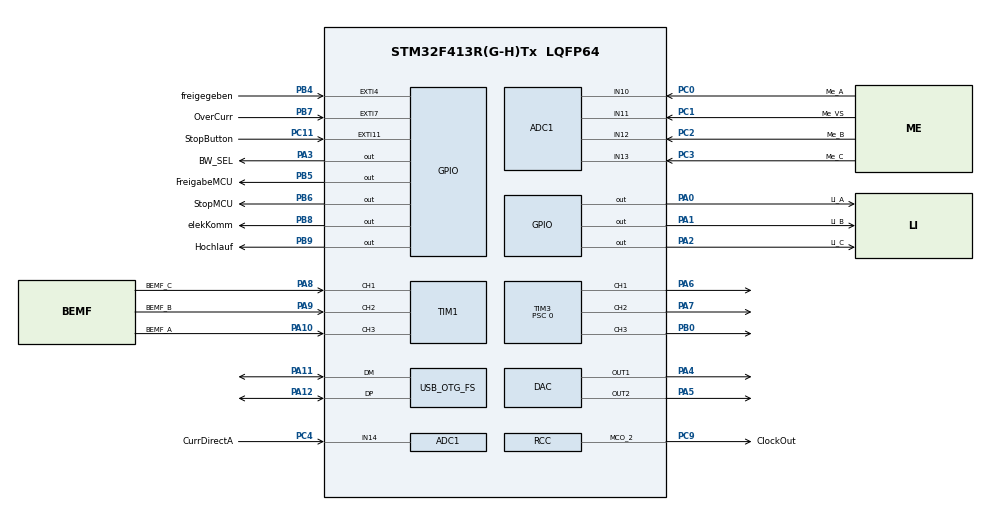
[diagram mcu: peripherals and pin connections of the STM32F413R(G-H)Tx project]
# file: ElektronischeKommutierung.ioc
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ADC1.Channel-0\#ChannelRegularConversion=ADC_CHANNEL_10
ADC1.NbrOfConversionFlag=1
ADC1.Rank-0\#ChannelRegularConversion=1
ADC1.SamplingTime-0\#ChannelRegularConversion=ADC_SAMPLETIME_3CYCLES
ADC1.master=1
Dma.ADC1.8.Direction=DMA_PERIPH_TO_MEMORY
Dma.ADC1.8.FIFOMode=DMA_FIFOMODE_DISABLE
Dma.ADC1.8.Instance=DMA2_Stream0
Dma.ADC1.8.MemDataAlignment=DMA_MDATAALIGN_HALFWORD
Dma.ADC1.8.MemInc=DMA_MINC_DISABLE
Dma.ADC1.8.Mode=DMA_NORMAL
Dma.ADC1.8.PeriphDataAlignment=DMA_PDATAALIGN_HALFWORD
Dma.ADC1.8.PeriphInc=DMA_PINC_DISABLE
Dma.ADC1.8.Priority=DMA_PRIORITY_LOW
Dma.DAC1.6.Direction=DMA_MEMORY_TO_PERIPH
Dma.DAC1.6.FIFOMode=DMA_FIFOMODE_DISABLE
Dma.DAC1.6.Instance=DMA1_Stream5
Dma.DAC1.6.MemDataAlignment=DMA_MDATAALIGN_HALFWORD
Dma.DAC1.6.MemInc=DMA_MINC_DISABLE
Dma.DAC1.6.Mode=DMA_NORMAL
Dma.DAC1.6.PeriphDataAlignment=DMA_PDATAALIGN_HALFWORD
Dma.DAC1.6.PeriphInc=DMA_PINC_DISABLE
Dma.DAC1.6.Priority=DMA_PRIORITY_MEDIUM
Dma.DAC2.7.Direction=DMA_MEMORY_TO_PERIPH
Dma.DAC2.7.FIFOMode=DMA_FIFOMODE_DISABLE
Dma.DAC2.7.Instance=DMA1_Stream6
Dma.DAC2.7.MemDataAlignment=DMA_MDATAALIGN_HALFWORD
Dma.DAC2.7.MemInc=DMA_MINC_DISABLE
Dma.DAC2.7.Mode=DMA_NORMAL
Dma.DAC2.7.PeriphDataAlignment=DMA_PDATAALIGN_HALFWORD
Dma.DAC2.7.PeriphInc=DMA_PINC_DISABLE
Dma.DAC2.7.Priority=DMA_PRIORITY_MEDIUM
Dma.Request0=TIM1_CH1
Dma.Request1=TIM1_CH2
Dma.Request2=TIM1_CH3
Dma.Request3=TIM8_CH2
Dma.Request4=TIM8_CH3
Dma.Request5=TIM8_CH4/TRIG/COM
Dma.Request6=DAC1
Dma.Request7=DAC2
Dma.Request8=ADC1
Dma.TIM1_CH1.0.Direction=DMA_PERIPH_TO_MEMORY
Dma.TIM1_CH1.0.FIFOMode=DMA_FIFOMODE_DISABLE
Dma.TIM1_CH1.0.Instance=DMA2_Stream1
Dma.TIM1_CH1.0.MemDataAlignment=DMA_MDATAALIGN_HALFWORD
Dma.TIM1_CH1.0.MemInc=DMA_MINC_DISABLE
Dma.TIM1_CH1.0.Mode=DMA_NORMAL
Dma.TIM1_CH1.0.PeriphDataAlignment=DMA_PDATAALIGN_HALFWORD
Dma.TIM1_CH1.0.PeriphInc=DMA_PINC_DISABLE
Dma.TIM1_CH1.0.Priority=DMA_PRIORITY_HIGH
Dma.TIM1_CH2.1.Direction=DMA_PERIPH_TO_MEMORY
Dma.TIM1_CH2.1.FIFOMode=DMA_FIFOMODE_DISABLE
Dma.TIM1_CH2.1.Instance=DMA2_Stream2
Dma.TIM1_CH2.1.MemDataAlignment=DMA_MDATAALIGN_HALFWORD
Dma.TIM1_CH2.1.MemInc=DMA_MINC_DISABLE
Dma.TIM1_CH2.1.Mode=DMA_NORMAL
Dma.TIM1_CH2.1.PeriphDataAlignment=DMA_PDATAALIGN_HALFWORD
Dma.TIM1_CH2.1.PeriphInc=DMA_PINC_DISABLE
Dma.TIM1_CH2.1.Priority=DMA_PRIORITY_HIGH
Dma.TIM1_CH3.2.Direction=DMA_PERIPH_TO_MEMORY
Dma.TIM1_CH3.2.FIFOMode=DMA_FIFOMODE_DISABLE
Dma.TIM1_CH3.2.Instance=DMA2_Stream6
Dma.TIM1_CH3.2.MemDataAlignment=DMA_MDATAALIGN_HALFWORD
Dma.TIM1_CH3.2.MemInc=DMA_MINC_DISABLE
Dma.TIM1_CH3.2.Mode=DMA_NORMAL
Dma.TIM1_CH3.2.PeriphDataAlignment=DMA_PDATAALIGN_HALFWORD
Dma.TIM1_CH3.2.PeriphInc=DMA_PINC_DISABLE
Dma.TIM1_CH3.2.Priority=DMA_PRIORITY_HIGH
Dma.TIM8_CH2.3.Direction=DMA_MEMORY_TO_PERIPH
Dma.TIM8_CH2.3.FIFOMode=DMA_FIFOMODE_DISABLE
Dma.TIM8_CH2.3.Instance=DMA2_Stream3
Dma.TIM8_CH2.3.MemDataAlignment=DMA_MDATAALIGN_HALFWORD
Dma.TIM8_CH2.3.MemInc=DMA_MINC_DISABLE
Dma.TIM8_CH2.3.Mode=DMA_NORMAL
Dma.TIM8_CH2.3.PeriphDataAlignment=DMA_PDATAALIGN_HALFWORD
Dma.TIM8_CH2.3.PeriphInc=DMA_PINC_DISABLE
Dma.TIM8_CH2.3.Priority=DMA_PRIORITY_HIGH
Dma.TIM8_CH3.4.Direction=DMA_MEMORY_TO_PERIPH
Dma.TIM8_CH3.4.FIFOMode=DMA_FIFOMODE_DISABLE
Dma.TIM8_CH3.4.Instance=DMA2_Stream4
Dma.TIM8_CH3.4.MemDataAlignment=DMA_MDATAALIGN_HALFWORD
Dma.TIM8_CH3.4.MemInc=DMA_MINC_DISABLE
Dma.TIM8_CH3.4.Mode=DMA_NORMAL
Dma.TIM8_CH3.4.PeriphDataAlignment=DMA_PDATAALIGN_HALFWORD
Dma.TIM8_CH3.4.PeriphInc=DMA_PINC_DISABLE
Dma.TIM8_CH3.4.Priority=DMA_PRIORITY_HIGH
Dma.TIM8_CH4/TRIG/COM.5.Direction=DMA_MEMORY_TO_PERIPH
Dma.TIM8_CH4/TRIG/COM.5.FIFOMode=DMA_FIFOMODE_DISABLE
Dma.TIM8_CH4/TRIG/COM.5.Instance=DMA2_Stream7
Dma.TIM8_CH4/TRIG/COM.5.MemDataAlignment=DMA_MDATAALIGN_HALFWORD
Dma.TIM8_CH4/TRIG/COM.5.MemInc=DMA_MINC_DISABLE
Dma.TIM8_CH4/TRIG/COM.5.Mode=DMA_NORMAL
Dma.TIM8_CH4/TRIG/COM.5.PeriphDataAlignment=DMA_PDATAALIGN_HALFWORD
Dma.TIM8_CH4/TRIG/COM.5.PeriphInc=DMA_PINC_DISABLE
Dma.TIM8_CH4/TRIG/COM.5.Priority=DMA_PRIORITY_HIGH
Mcu.Family=STM32F4
Mcu.Name=STM32F413R(G-H)Tx
Mcu.Package=LQFP64
NVIC.DMA1_Stream5_IRQn=true\:0\:0\:false\:false\:true\:false
NVIC.DMA1_Stream6_IRQn=true\:0\:0\:false\:false\:true\:false
NVIC.DMA2_Stream0_IRQn=true\:0\:0\:false\:false\:true\:false
NVIC.DMA2_Stream1_IRQn=true\:0\:0\:false\:false\:true\:false
NVIC.DMA2_Stream2_IRQn=true\:0\:0\:false\:false\:true\:false
NVIC.DMA2_Stream3_IRQn=true\:0\:0\:false\:false\:true\:false
NVIC.DMA2_Stream4_IRQn=true\:0\:0\:false\:false\:true\:false
NVIC.DMA2_Stream6_IRQn=true\:0\:0\:false\:false\:true\:false
NVIC.DMA2_Stream7_IRQn=true\:0\:0\:false\:false\:true\:false
NVIC.EXTI15_10_IRQn=true\:0\:0\:false\:false\:true\:true
NVIC.EXTI4_IRQn=true\:0\:0\:false\:false\:true\:true
NVIC.EXTI9_5_IRQn=true\:0\:0\:false\:false\:true\:true
NVIC.OTG_FS_IRQn=true\:0\:0\:false\:false\:true\:false
NVIC.PriorityGroup=NVIC_PRIORITYGROUP_4
PA0.GPIO_Label=LI_A
PA0.GPIO_Speed=GPIO_SPEED_FREQ_VERY_HIGH
PA0.Signal=GPIO_Output
PA1.GPIO_Label=LI_B
PA1.GPIO_Speed=GPIO_SPEED_FREQ_VERY_HIGH
PA1.Signal=GPIO_Output
PA10.GPIO_Label=BEMF_A
PA10.GPIO_Speed=GPIO_SPEED_FREQ_VERY_HIGH
PA10.Signal=S_TIM1_CH3
PA11.Mode=Device_Only
PA11.Signal=USB_OTG_FS_DM
PA12.Mode=Device_Only
PA12.Signal=USB_OTG_FS_DP
PA13.Mode=Serial_Wire
PA13.Signal=SYS_JTMS-SWDIO
PA14.Mode=Serial_Wire
PA14.Signal=SYS_JTCK-SWCLK
PA2.GPIO_Label=LI_C
PA2.GPIO_Speed=GPIO_SPEED_FREQ_VERY_HIGH
PA2.Signal=GPIO_Output
PA3.GPIO_Label=BW_SEL
PA3.GPIO_Speed=GPIO_SPEED_FREQ_MEDIUM
PA3.Signal=GPIO_Output
PA4.Signal=COMP_DAC1_group
PA5.Signal=COMP_DAC2_group
PA6.GPIO_Speed=GPIO_SPEED_FREQ_VERY_HIGH
PA6.Signal=S_TIM3_CH1
PA7.GPIO_Speed=GPIO_SPEED_FREQ_VERY_HIGH
PA7.Signal=S_TIM3_CH2
PA8.GPIO_Label=BEMF_C
PA8.GPIO_Speed=GPIO_SPEED_FREQ_VERY_HIGH
PA8.Signal=S_TIM1_CH1
PA9.GPIO_Label=BEMF_B
PA9.GPIO_Speed=GPIO_SPEED_FREQ_VERY_HIGH
PA9.Signal=S_TIM1_CH2
PB0.GPIO_Speed=GPIO_SPEED_FREQ_VERY_HIGH
PB0.Signal=S_TIM3_CH3
PB4.GPIO_Label=freigegeben
PB4.Signal=GPXTI4
PB5.GPIO_Label=FreigabeMCU
PB5.GPIO_Speed=GPIO_SPEED_FREQ_MEDIUM
PB5.Signal=GPIO_Output
PB6.GPIO_Label=StopMCU
PB6.GPIO_Speed=GPIO_SPEED_FREQ_VERY_HIGH
PB6.Signal=GPIO_Output
PB7.GPIO_Label=OverCurr
PB7.Signal=GPXTI7
PB8.GPIO_Label=elekKomm
PB8.GPIO_Speed=GPIO_SPEED_FREQ_LOW
PB8.Signal=GPIO_Output
PB9.GPIO_Label=Hochlauf
PB9.Signal=GPIO_Output
PC0.GPIO_Label=Me_A
PC0.Signal=ADCx_IN10
PC1.GPIO_Label=Me_VS
PC1.Signal=ADCx_IN11
PC11.GPIO_Label=StopButton
PC11.Signal=GPXTI11
PC2.GPIO_Label=Me_B
PC2.Signal=ADCx_IN12
PC3.GPIO_Label=Me_C
PC3.Signal=ADCx_IN13
PC4.GPIO_Label=CurrDirectA
PC4.Signal=ADCx_IN14
PC9.GPIO_Label=ClockOut
PC9.GPIO_Speed=GPIO_SPEED_FREQ_VERY_HIGH
PC9.Mode=Clock-out-2
PC9.Signal=RCC_MCO_2
PH0\ -\ OSC_IN.Mode=HSE-External-Oscillator
PH0\ -\ OSC_IN.Signal=RCC_OSC_IN
PH1\ -\ OSC_OUT.Mode=HSE-External-Oscillator
PH1\ -\ OSC_OUT.Signal=RCC_OSC_OUT
ProjectManager.HeapSize=0x200
ProjectManager.StackSize=0x400
ProjectManager.TargetToolchain=SW4STM32
RCC.AHBFreq_Value=96000000
RCC.APB1CLKDivider=RCC_HCLK_DIV2
RCC.APB1Freq_Value=48000000
RCC.APB1TimFreq_Value=96000000
RCC.APB2Freq_Value=96000000
RCC.APB2TimFreq_Value=96000000
RCC.CortexFreq_Value=96000000
RCC.HCLKFreq_Value=96000000
RCC.HSE_VALUE=24000000
RCC.PLLM=12
RCC.PLLP=RCC_PLLP_DIV4
RCC.PLLQ=8
RCC.SYSCLKFreq_VALUE=96000000
RCC.SYSCLKSource=RCC_SYSCLKSOURCE_PLLCLK
RCC.USBFreq_Value=48000000
RCC.VCOOutputFreq_Value=384000000
SH.ADCx_IN10.0=ADC1_IN10,IN10
SH.ADCx_IN11.0=ADC1_IN11,IN11
SH.ADCx_IN12.0=ADC1_IN12,IN12
SH.ADCx_IN13.0=ADC1_IN13,IN13
SH.ADCx_IN14.0=ADC1_IN14,IN14
SH.COMP_DAC1_group.0=DAC_OUT1,DAC_OUT1
SH.COMP_DAC2_group.0=DAC_OUT2,DAC_OUT2
SH.S_TIM1_CH1.0=TIM1_CH1,Input_Capture1_from_TI1
SH.S_TIM1_CH2.0=TIM1_CH2,Input_Capture2_from_TI2
SH.S_TIM1_CH3.0=TIM1_CH3,Input_Capture3_from_TI3
SH.S_TIM3_CH1.0=TIM3_CH1,PWM Generation1 CH1
SH.S_TIM3_CH2.0=TIM3_CH2,PWM Generation2 CH2
SH.S_TIM3_CH3.0=TIM3_CH3,PWM Generation3 CH3
TIM1.Channel-Input_Capture1_from_TI1=TIM_CHANNEL_1
TIM1.Channel-Input_Capture2_from_TI2=TIM_CHANNEL_2
TIM1.Channel-Input_Capture3_from_TI3=TIM_CHANNEL_3
TIM1.ICFilter_CH1=15
TIM1.ICFilter_CH2=0xF
TIM1.ICFilter_CH3=0xF
TIM3.Channel-PWM\ Generation1\ CH1=TIM_CHANNEL_1
TIM3.Channel-PWM\ Generation2\ CH2=TIM_CHANNEL_2
TIM3.Channel-PWM\ Generation3\ CH3=TIM_CHANNEL_3
TIM3.OCFastMode_PWM-PWM\ Generation1\ CH1=TIM_OCFAST_ENABLE
TIM3.OCFastMode_PWM-PWM\ Generation2\ CH2=TIM_OCFAST_ENABLE
TIM3.OCFastMode_PWM-PWM\ Generation3\ CH3=TIM_OCFAST_ENABLE
TIM3.Prescaler=0
TIM8.Channel-Output\ Compare2\ No\ Output=TIM_CHANNEL_2
TIM8.Channel-Output\ Compare3\ No\ Output=TIM_CHANNEL_3
TIM8.Channel-Output\ Compare4\ No\ Output=TIM_CHANNEL_4
USB_DEVICE.CLASS_NAME_FS=CDC
USB_DEVICE.VirtualMode=Cdc
USB_DEVICE.VirtualModeFS=Cdc_FS
USB_OTG_FS.VirtualMode=Device_Only
VP_TIM8_VS_no_output2.Mode=Output Compare2 No Output
VP_TIM8_VS_no_output3.Mode=Output Compare3 No Output
VP_TIM8_VS_no_output4.Mode=Output Compare4 No Output
VP_USB_DEVICE_VS_USB_DEVICE_CDC_FS.Mode=CDC_FS
board=ElektronischeKommutierung

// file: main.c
/**
  ******************************************************************************
  * @file           : main.c
  * @brief          : Main program body
  ******************************************************************************
  * This notice applies to any and all portions of this file
  * that are not between comment pairs USER CODE BEGIN and
  * USER CODE END. Other portions of this file, whether
  * inserted by the user or by software development tools
  * are owned by their respective copyright owners.
  *
  * Copyright (c) 2018 STMicroelectronics International N.V.
  * All rights reserved.
  *
  * Redistribution and use in source and binary forms, with or without
  * modification, are permitted, provided that the following conditions are met:
  *
  * 1. Redistribution of source code must retain the above copyright notice,
  *    this list of conditions and the following disclaimer.
  * 2. Redistributions in binary form must reproduce the above copyright notice,
  *    this list of conditions and the following disclaimer in the documentation
  *    and/or other materials provided with the distribution.
  * 3. Neither the name of STMicroelectronics nor the names of other
  *    contributors to this software may be used to endorse or promote products
  *    derived from this software without specific written permission.
  * 4. This software, including modifications and/or derivative works of this
  *    software, must execute solely and exclusively on microcontroller or
  *    microprocessor devices manufactured by or for STMicroelectronics.
  * 5. Redistribution and use of this software other than as permitted under
  *    this license is void and will automatically terminate your rights under
  *    this license.
  *
  * THIS SOFTWARE IS PROVIDED BY STMICROELECTRONICS AND CONTRIBUTORS "AS IS"
  * AND ANY EXPRESS, IMPLIED OR STATUTORY WARRANTIES, INCLUDING, BUT NOT
  * LIMITED TO, THE IMPLIED WARRANTIES OF MERCHANTABILITY, FITNESS FOR A
  * PARTICULAR PURPOSE AND NON-INFRINGEMENT OF THIRD PARTY INTELLECTUAL PROPERTY
  * RIGHTS ARE DISCLAIMED TO THE FULLEST EXTENT PERMITTED BY LAW. IN NO EVENT
  * SHALL STMICROELECTRONICS OR CONTRIBUTORS BE LIABLE FOR ANY DIRECT, INDIRECT,
  * INCIDENTAL, SPECIAL, EXEMPLARY, OR CONSEQUENTIAL DAMAGES (INCLUDING, BUT NOT
  * LIMITED TO, PROCUREMENT OF SUBSTITUTE GOODS OR SERVICES; LOSS OF USE, DATA,
  * OR PROFITS; OR BUSINESS INTERRUPTION) HOWEVER CAUSED AND ON ANY THEORY OF
  * LIABILITY, WHETHER IN CONTRACT, STRICT LIABILITY, OR TORT (INCLUDING
  * NEGLIGENCE OR OTHERWISE) ARISING IN ANY WAY OUT OF THE USE OF THIS SOFTWARE,
  * EVEN IF ADVISED OF THE POSSIBILITY OF SUCH DAMAGE.
  *
  ******************************************************************************
  */
#include "main.h"
#include "stm32f4xx_hal.h"
#include "usb_device.h"

/* USER CODE BEGIN Includes */
#include"ZeroCrossTimings.h"
#include"RPMList.h"
#include"PWMFrequency.h"
#include"Commutation.h"
/* USER CODE END Includes */

/* USER CODE BEGIN PV */
/* Private variables ---------------------------------------------------------*/

uint32_t HighsideFrequency;
/* USER CODE END PV */

void SystemClock_Config(void);
static void MX_GPIO_Init(void);
static void MX_DMA_Init(void);
static void MX_ADC1_Init(void);
static void MX_DAC_Init(void);
static void MX_TIM1_Init(void);
static void MX_TIM3_Init(void);
static void MX_TIM8_Init(void);

/* USER CODE BEGIN PFP */
/* Private function prototypes -----------------------------------------------*/
static void chargeBootsraps(uint16_t);
static void setHighsidePWMFreq(enum PWMFreq aFreqency);
static void InitializeLists();
static void DefineComm();
static void enableDMA2(uint32_t aStream);
static void changeTIM1DMADestination(uint32_t stream);
static void PWMStart();
/* USER CODE END PFP */

/* USER CODE BEGIN 0 */
struct ZeroCrossing ZeroC[NB_ZCROSS];
struct ZeroCrossing *pZeroCrossCurrent;
struct RPMList RPM[NB_RPM];
struct RPMList *pRPMCurrent;
struct commData Kommutierung[6];
struct commData *pKomm;
/* USER CODE END 0 */

int main(void)
{
  /* USER CODE BEGIN 1 */
 InitializeLists();
  /* USER CODE END 1 */

  /* MCU Configuration----------------------------------------------------------*/

  /* Reset of all peripherals, Initializes the Flash interface and the Systick. */
  HAL_Init();

  /* Configure the system clock */
  SystemClock_Config();

  /* Initialize all configured peripherals */
  MX_GPIO_Init();
  MX_DMA_Init();
  MX_ADC1_Init();
  MX_DAC_Init();
  MX_TIM1_Init();
  MX_TIM3_Init();
  MX_TIM8_Init();
  MX_USB_DEVICE_Init();
  /* USER CODE BEGIN 2 */
  chargeBootsraps(50);
  /* USER CODE END 2 */

  /* Infinite loop */
  while (1)
  {

  }

}

void SystemClock_Config(void)
{

  LL_FLASH_SetLatency(LL_FLASH_LATENCY_3);

  if(LL_FLASH_GetLatency() != LL_FLASH_LATENCY_3)
  {
  Error_Handler();
  }
  LL_PWR_SetRegulVoltageScaling(LL_PWR_REGU_VOLTAGE_SCALE1);

  LL_RCC_HSE_Enable();

   /* Wait till HSE is ready */
  while(LL_RCC_HSE_IsReady() != 1)
  {

  }
  LL_RCC_PLL_ConfigDomain_SYS(LL_RCC_PLLSOURCE_HSE, LL_RCC_PLLM_DIV_12, 192, LL_RCC_PLLP_DIV_4);

  LL_RCC_PLL_ConfigDomain_48M(LL_RCC_PLLSOURCE_HSE, LL_RCC_PLLM_DIV_12, 192, LL_RCC_PLLQ_DIV_8);

  LL_RCC_PLL_Enable();

   /* Wait till PLL is ready */
  while(LL_RCC_PLL_IsReady() != 1)
  {

  }
  LL_RCC_SetAHBPrescaler(LL_RCC_SYSCLK_DIV_1);

  LL_RCC_SetAPB1Prescaler(LL_RCC_APB1_DIV_2);

  LL_RCC_SetAPB2Prescaler(LL_RCC_APB2_DIV_1);

  LL_RCC_SetSysClkSource(LL_RCC_SYS_CLKSOURCE_PLL);

   /* Wait till System clock is ready */
  while(LL_RCC_GetSysClkSource() != LL_RCC_SYS_CLKSOURCE_STATUS_PLL)
  {

  }
  LL_Init1msTick(96000000);

  LL_SYSTICK_SetClkSource(LL_SYSTICK_CLKSOURCE_HCLK);

  LL_SetSystemCoreClock(96000000);

  LL_RCC_ConfigMCO(LL_RCC_MCO2SOURCE_SYSCLK, LL_RCC_MCO2_DIV_1);

  LL_RCC_SetUSBClockSource(LL_RCC_USB_CLKSOURCE_PLL);

  LL_RCC_SetTIMPrescaler(LL_RCC_TIM_PRESCALER_TWICE);

  /* SysTick_IRQn interrupt configuration */
  NVIC_SetPriority(SysTick_IRQn, NVIC_EncodePriority(NVIC_GetPriorityGrouping(),0, 0));
}

/* ADC1 init function */
static void MX_ADC1_Init(void)
{

  LL_ADC_InitTypeDef ADC_InitStruct;
  LL_ADC_REG_InitTypeDef ADC_REG_InitStruct;
  LL_ADC_CommonInitTypeDef ADC_CommonInitStruct;

  LL_GPIO_InitTypeDef GPIO_InitStruct;

  /* Peripheral clock enable */
  LL_APB2_GRP1_EnableClock(LL_APB2_GRP1_PERIPH_ADC1);

  /**ADC1 GPIO Configuration
  PC0   ------> ADC1_IN10
  PC1   ------> ADC1_IN11
  PC2   ------> ADC1_IN12
  PC3   ------> ADC1_IN13
  PC4   ------> ADC1_IN14
  */
  GPIO_InitStruct.Pin = Me_A_Pin|Me_VS_Pin|Me_B_Pin|Me_C_Pin
                          |CurrDirectA_Pin;
  GPIO_InitStruct.Mode = LL_GPIO_MODE_ANALOG;
  GPIO_InitStruct.Pull = LL_GPIO_PULL_NO;
  LL_GPIO_Init(GPIOC, &GPIO_InitStruct);

  /* ADC1 DMA Init */

  /* ADC1 Init */
  LL_DMA_SetChannelSelection(DMA2, LL_DMA_STREAM_0, LL_DMA_CHANNEL_0);

  LL_DMA_SetDataTransferDirection(DMA2, LL_DMA_STREAM_0, LL_DMA_DIRECTION_PERIPH_TO_MEMORY);

  LL_DMA_SetStreamPriorityLevel(DMA2, LL_DMA_STREAM_0, LL_DMA_PRIORITY_LOW);

  LL_DMA_SetMode(DMA2, LL_DMA_STREAM_0, LL_DMA_MODE_NORMAL);

  LL_DMA_SetPeriphIncMode(DMA2, LL_DMA_STREAM_0, LL_DMA_PERIPH_NOINCREMENT);

  LL_DMA_SetMemoryIncMode(DMA2, LL_DMA_STREAM_0, LL_DMA_MEMORY_NOINCREMENT);

  LL_DMA_SetPeriphSize(DMA2, LL_DMA_STREAM_0, LL_DMA_PDATAALIGN_HALFWORD);

  LL_DMA_SetMemorySize(DMA2, LL_DMA_STREAM_0, LL_DMA_MDATAALIGN_HALFWORD);

  LL_DMA_DisableFifoMode(DMA2, LL_DMA_STREAM_0);

    /**Common config
    */
  ADC_InitStruct.Resolution = LL_ADC_RESOLUTION_12B;
  ADC_InitStruct.DataAlignment = LL_ADC_DATA_ALIGN_RIGHT;
  ADC_InitStruct.SequencersScanMode = LL_ADC_SEQ_SCAN_DISABLE;
  LL_ADC_Init(ADC1, &ADC_InitStruct);

  ADC_REG_InitStruct.TriggerSource = LL_ADC_REG_TRIG_SOFTWARE;
  ADC_REG_InitStruct.SequencerLength = LL_ADC_REG_SEQ_SCAN_DISABLE;
  ADC_REG_InitStruct.SequencerDiscont = LL_ADC_REG_SEQ_DISCONT_DISABLE;
  ADC_REG_InitStruct.ContinuousMode = LL_ADC_REG_CONV_SINGLE;
  ADC_REG_InitStruct.DMATransfer = LL_ADC_REG_DMA_TRANSFER_LIMITED;
  LL_ADC_REG_Init(ADC1, &ADC_REG_InitStruct);

  LL_ADC_REG_SetFlagEndOfConversion(ADC1, LL_ADC_REG_FLAG_EOC_UNITARY_CONV);

  ADC_CommonInitStruct.CommonClock = LL_ADC_CLOCK_SYNC_PCLK_DIV4;
  LL_ADC_CommonInit(__LL_ADC_COMMON_INSTANCE(ADC1), &ADC_CommonInitStruct);

    /**Configure Regular Channel
    */
  LL_ADC_REG_SetSequencerRanks(ADC1, LL_ADC_REG_RANK_1, LL_ADC_CHANNEL_10);

  LL_ADC_SetChannelSamplingTime(ADC1, LL_ADC_CHANNEL_10, LL_ADC_SAMPLINGTIME_3CYCLES);

}

/* DAC init function */
static void MX_DAC_Init(void)
{

  LL_DAC_InitTypeDef DAC_InitStruct;

  LL_GPIO_InitTypeDef GPIO_InitStruct;

  /* Peripheral clock enable */
  LL_APB1_GRP1_EnableClock(LL_APB1_GRP1_PERIPH_DAC1);

  /**DAC GPIO Configuration
  PA4   ------> DAC_OUT1
  PA5   ------> DAC_OUT2
  */
  GPIO_InitStruct.Pin = LL_GPIO_PIN_4|LL_GPIO_PIN_5;
  GPIO_InitStruct.Mode = LL_GPIO_MODE_ANALOG;
  GPIO_InitStruct.Pull = LL_GPIO_PULL_NO;
  LL_GPIO_Init(GPIOA, &GPIO_InitStruct);

  /* DAC DMA Init */

  /* DAC1 Init */
  LL_DMA_SetChannelSelection(DMA1, LL_DMA_STREAM_5, LL_DMA_CHANNEL_7);

  LL_DMA_SetDataTransferDirection(DMA1, LL_DMA_STREAM_5, LL_DMA_DIRECTION_MEMORY_TO_PERIPH);

  LL_DMA_SetStreamPriorityLevel(DMA1, LL_DMA_STREAM_5, LL_DMA_PRIORITY_MEDIUM);

  LL_DMA_SetMode(DMA1, LL_DMA_STREAM_5, LL_DMA_MODE_NORMAL);

  LL_DMA_SetPeriphIncMode(DMA1, LL_DMA_STREAM_5, LL_DMA_PERIPH_NOINCREMENT);

  LL_DMA_SetMemoryIncMode(DMA1, LL_DMA_STREAM_5, LL_DMA_MEMORY_NOINCREMENT);

  LL_DMA_SetPeriphSize(DMA1, LL_DMA_STREAM_5, LL_DMA_PDATAALIGN_HALFWORD);

  LL_DMA_SetMemorySize(DMA1, LL_DMA_STREAM_5, LL_DMA_MDATAALIGN_HALFWORD);

  LL_DMA_DisableFifoMode(DMA1, LL_DMA_STREAM_5);

  /* DAC2 Init */
  LL_DMA_SetChannelSelection(DMA1, LL_DMA_STREAM_6, LL_DMA_CHANNEL_7);

  LL_DMA_SetDataTransferDirection(DMA1, LL_DMA_STREAM_6, LL_DMA_DIRECTION_MEMORY_TO_PERIPH);

  LL_DMA_SetStreamPriorityLevel(DMA1, LL_DMA_STREAM_6, LL_DMA_PRIORITY_MEDIUM);

  LL_DMA_SetMode(DMA1, LL_DMA_STREAM_6, LL_DMA_MODE_NORMAL);

  LL_DMA_SetPeriphIncMode(DMA1, LL_DMA_STREAM_6, LL_DMA_PERIPH_NOINCREMENT);

  LL_DMA_SetMemoryIncMode(DMA1, LL_DMA_STREAM_6, LL_DMA_MEMORY_NOINCREMENT);

  LL_DMA_SetPeriphSize(DMA1, LL_DMA_STREAM_6, LL_DMA_PDATAALIGN_HALFWORD);

  LL_DMA_SetMemorySize(DMA1, LL_DMA_STREAM_6, LL_DMA_MDATAALIGN_HALFWORD);

  LL_DMA_DisableFifoMode(DMA1, LL_DMA_STREAM_6);

    /**DAC channel OUT1 config
    */
  DAC_InitStruct.TriggerSource = LL_DAC_TRIG_SOFTWARE;
  DAC_InitStruct.WaveAutoGeneration = LL_DAC_WAVE_AUTO_GENERATION_NONE;
  DAC_InitStruct.OutputBuffer = LL_DAC_OUTPUT_BUFFER_ENABLE;
  LL_DAC_Init(DAC, LL_DAC_CHANNEL_1, &DAC_InitStruct);

    /**DAC channel OUT2 config
    */
  LL_DAC_Init(DAC, LL_DAC_CHANNEL_2, &DAC_InitStruct);

}

/* TIM1 init function */
static void MX_TIM1_Init(void)
{

  LL_TIM_InitTypeDef TIM_InitStruct;

  LL_GPIO_InitTypeDef GPIO_InitStruct;

  /* Peripheral clock enable */
  LL_APB2_GRP1_EnableClock(LL_APB2_GRP1_PERIPH_TIM1);

  /**TIM1 GPIO Configuration
  PA8   ------> TIM1_CH1
  PA9   ------> TIM1_CH2
  PA10   ------> TIM1_CH3
  */
  GPIO_InitStruct.Pin = BEMF_C_Pin|BEMF_B_Pin|BEMF_A_Pin;
  GPIO_InitStruct.Mode = LL_GPIO_MODE_ALTERNATE;
  GPIO_InitStruct.Speed = LL_GPIO_SPEED_FREQ_VERY_HIGH;
  GPIO_InitStruct.OutputType = LL_GPIO_OUTPUT_PUSHPULL;
  GPIO_InitStruct.Pull = LL_GPIO_PULL_NO;
  GPIO_InitStruct.Alternate = LL_GPIO_AF_1;
  LL_GPIO_Init(GPIOA, &GPIO_InitStruct);

  /* TIM1 DMA Init */

  /* TIM1_CH1 Init */
  LL_DMA_SetChannelSelection(DMA2, LL_DMA_STREAM_1, LL_DMA_CHANNEL_6);

  LL_DMA_SetDataTransferDirection(DMA2, LL_DMA_STREAM_1, LL_DMA_DIRECTION_PERIPH_TO_MEMORY);

  LL_DMA_SetStreamPriorityLevel(DMA2, LL_DMA_STREAM_1, LL_DMA_PRIORITY_HIGH);

  LL_DMA_SetMode(DMA2, LL_DMA_STREAM_1, LL_DMA_MODE_NORMAL);

  LL_DMA_SetPeriphIncMode(DMA2, LL_DMA_STREAM_1, LL_DMA_PERIPH_NOINCREMENT);

  LL_DMA_SetMemoryIncMode(DMA2, LL_DMA_STREAM_1, LL_DMA_MEMORY_NOINCREMENT);

  LL_DMA_SetPeriphSize(DMA2, LL_DMA_STREAM_1, LL_DMA_PDATAALIGN_HALFWORD);

  LL_DMA_SetMemorySize(DMA2, LL_DMA_STREAM_1, LL_DMA_MDATAALIGN_HALFWORD);

  LL_DMA_DisableFifoMode(DMA2, LL_DMA_STREAM_1);

  /* TIM1_CH2 Init */
  LL_DMA_SetChannelSelection(DMA2, LL_DMA_STREAM_2, LL_DMA_CHANNEL_6);

  LL_DMA_SetDataTransferDirection(DMA2, LL_DMA_STREAM_2, LL_DMA_DIRECTION_PERIPH_TO_MEMORY);

  LL_DMA_SetStreamPriorityLevel(DMA2, LL_DMA_STREAM_2, LL_DMA_PRIORITY_HIGH);

  LL_DMA_SetMode(DMA2, LL_DMA_STREAM_2, LL_DMA_MODE_NORMAL);

  LL_DMA_SetPeriphIncMode(DMA2, LL_DMA_STREAM_2, LL_DMA_PERIPH_NOINCREMENT);

  LL_DMA_SetMemoryIncMode(DMA2, LL_DMA_STREAM_2, LL_DMA_MEMORY_NOINCREMENT);

  LL_DMA_SetPeriphSize(DMA2, LL_DMA_STREAM_2, LL_DMA_PDATAALIGN_HALFWORD);

  LL_DMA_SetMemorySize(DMA2, LL_DMA_STREAM_2, LL_DMA_MDATAALIGN_HALFWORD);

  LL_DMA_DisableFifoMode(DMA2, LL_DMA_STREAM_2);

  /* TIM1_CH3 Init */
  LL_DMA_SetChannelSelection(DMA2, LL_DMA_STREAM_6, LL_DMA_CHANNEL_6);

  LL_DMA_SetDataTransferDirection(DMA2, LL_DMA_STREAM_6, LL_DMA_DIRECTION_PERIPH_TO_MEMORY);

  LL_DMA_SetStreamPriorityLevel(DMA2, LL_DMA_STREAM_6, LL_DMA_PRIORITY_HIGH);

  LL_DMA_SetMode(DMA2, LL_DMA_STREAM_6, LL_DMA_MODE_NORMAL);

  LL_DMA_SetPeriphIncMode(DMA2, LL_DMA_STREAM_6, LL_DMA_PERIPH_NOINCREMENT);

  LL_DMA_SetMemoryIncMode(DMA2, LL_DMA_STREAM_6, LL_DMA_MEMORY_NOINCREMENT);

  LL_DMA_SetPeriphSize(DMA2, LL_DMA_STREAM_6, LL_DMA_PDATAALIGN_HALFWORD);

  LL_DMA_SetMemorySize(DMA2, LL_DMA_STREAM_6, LL_DMA_MDATAALIGN_HALFWORD);

  LL_DMA_DisableFifoMode(DMA2, LL_DMA_STREAM_6);

  TIM_InitStruct.Prescaler = 0;
  TIM_InitStruct.CounterMode = LL_TIM_COUNTERMODE_UP;
  TIM_InitStruct.Autoreload = 0;
  TIM_InitStruct.ClockDivision = LL_TIM_CLOCKDIVISION_DIV1;
  TIM_InitStruct.RepetitionCounter = 0;
  LL_TIM_Init(TIM1, &TIM_InitStruct);

  LL_TIM_SetTriggerOutput(TIM1, LL_TIM_TRGO_RESET);

  LL_TIM_DisableMasterSlaveMode(TIM1);

  LL_TIM_IC_SetActiveInput(TIM1, LL_TIM_CHANNEL_CH1, LL_TIM_ACTIVEINPUT_DIRECTTI);

  LL_TIM_IC_SetPrescaler(TIM1, LL_TIM_CHANNEL_CH1, LL_TIM_ICPSC_DIV1);

  LL_TIM_IC_SetFilter(TIM1, LL_TIM_CHANNEL_CH1, LL_TIM_IC_FILTER_FDIV32_N8);

  LL_TIM_IC_SetPolarity(TIM1, LL_TIM_CHANNEL_CH1, LL_TIM_IC_POLARITY_RISING);

  LL_TIM_IC_SetActiveInput(TIM1, LL_TIM_CHANNEL_CH2, LL_TIM_ACTIVEINPUT_DIRECTTI);

  LL_TIM_IC_SetPrescaler(TIM1, LL_TIM_CHANNEL_CH2, LL_TIM_ICPSC_DIV1);

  LL_TIM_IC_SetFilter(TIM1, LL_TIM_CHANNEL_CH2, LL_TIM_IC_FILTER_FDIV32_N8);

  LL_TIM_IC_SetPolarity(TIM1, LL_TIM_CHANNEL_CH2, LL_TIM_IC_POLARITY_RISING);

  LL_TIM_IC_SetActiveInput(TIM1, LL_TIM_CHANNEL_CH3, LL_TIM_ACTIVEINPUT_DIRECTTI);

  LL_TIM_IC_SetPrescaler(TIM1, LL_TIM_CHANNEL_CH3, LL_TIM_ICPSC_DIV1);

  LL_TIM_IC_SetFilter(TIM1, LL_TIM_CHANNEL_CH3, LL_TIM_IC_FILTER_FDIV32_N8);

  LL_TIM_IC_SetPolarity(TIM1, LL_TIM_CHANNEL_CH3, LL_TIM_IC_POLARITY_RISING);

}

/* TIM3 init function */
static void MX_TIM3_Init(void)
{

  LL_TIM_InitTypeDef TIM_InitStruct;
  LL_TIM_OC_InitTypeDef TIM_OC_InitStruct;

  LL_GPIO_InitTypeDef GPIO_InitStruct;

  /* Peripheral clock enable */
  LL_APB1_GRP1_EnableClock(LL_APB1_GRP1_PERIPH_TIM3);

  TIM_InitStruct.Prescaler = 0;
  TIM_InitStruct.CounterMode = LL_TIM_COUNTERMODE_UP;
  TIM_InitStruct.Autoreload = 0;
  TIM_InitStruct.ClockDivision = LL_TIM_CLOCKDIVISION_DIV1;
  LL_TIM_Init(TIM3, &TIM_InitStruct);

  LL_TIM_OC_EnablePreload(TIM3, LL_TIM_CHANNEL_CH1);

  TIM_OC_InitStruct.OCMode = LL_TIM_OCMODE_PWM1;
  TIM_OC_InitStruct.OCState = LL_TIM_OCSTATE_DISABLE;
  TIM_OC_InitStruct.OCNState = LL_TIM_OCSTATE_DISABLE;
  TIM_OC_InitStruct.CompareValue = 0;
  TIM_OC_InitStruct.OCPolarity = LL_TIM_OCPOLARITY_HIGH;
  LL_TIM_OC_Init(TIM3, LL_TIM_CHANNEL_CH1, &TIM_OC_InitStruct);

  LL_TIM_OC_EnableFast(TIM3, LL_TIM_CHANNEL_CH1);

  LL_TIM_OC_EnablePreload(TIM3, LL_TIM_CHANNEL_CH2);

  TIM_OC_InitStruct.OCState = LL_TIM_OCSTATE_DISABLE;
  TIM_OC_InitStruct.OCNState = LL_TIM_OCSTATE_DISABLE;
  LL_TIM_OC_Init(TIM3, LL_TIM_CHANNEL_CH2, &TIM_OC_InitStruct);

  LL_TIM_OC_EnableFast(TIM3, LL_TIM_CHANNEL_CH2);

  LL_TIM_OC_EnablePreload(TIM3, LL_TIM_CHANNEL_CH3);

  TIM_OC_InitStruct.OCState = LL_TIM_OCSTATE_DISABLE;
  TIM_OC_InitStruct.OCNState = LL_TIM_OCSTATE_DISABLE;
  LL_TIM_OC_Init(TIM3, LL_TIM_CHANNEL_CH3, &TIM_OC_InitStruct);

  LL_TIM_OC_EnableFast(TIM3, LL_TIM_CHANNEL_CH3);

  LL_TIM_SetTriggerOutput(TIM3, LL_TIM_TRGO_RESET);

  LL_TIM_DisableMasterSlaveMode(TIM3);

  /**TIM3 GPIO Configuration
  PA6   ------> TIM3_CH1
  PA7   ------> TIM3_CH2
  PB0   ------> TIM3_CH3
  */
  GPIO_InitStruct.Pin = LL_GPIO_PIN_6|LL_GPIO_PIN_7;
  GPIO_InitStruct.Mode = LL_GPIO_MODE_ALTERNATE;
  GPIO_InitStruct.Speed = LL_GPIO_SPEED_FREQ_VERY_HIGH;
  GPIO_InitStruct.OutputType = LL_GPIO_OUTPUT_PUSHPULL;
  GPIO_InitStruct.Pull = LL_GPIO_PULL_NO;
  GPIO_InitStruct.Alternate = LL_GPIO_AF_2;
  LL_GPIO_Init(GPIOA, &GPIO_InitStruct);

  GPIO_InitStruct.Pin = LL_GPIO_PIN_0;
  GPIO_InitStruct.Mode = LL_GPIO_MODE_ALTERNATE;
  GPIO_InitStruct.Speed = LL_GPIO_SPEED_FREQ_VERY_HIGH;
  GPIO_InitStruct.OutputType = LL_GPIO_OUTPUT_PUSHPULL;
  GPIO_InitStruct.Pull = LL_GPIO_PULL_NO;
  GPIO_InitStruct.Alternate = LL_GPIO_AF_2;
  LL_GPIO_Init(GPIOB, &GPIO_InitStruct);

}

/* TIM8 init function */
static void MX_TIM8_Init(void)
{

  LL_TIM_InitTypeDef TIM_InitStruct;
  LL_TIM_OC_InitTypeDef TIM_OC_InitStruct;
  LL_TIM_BDTR_InitTypeDef TIM_BDTRInitStruct;

  /* Peripheral clock enable */
  LL_APB2_GRP1_EnableClock(LL_APB2_GRP1_PERIPH_TIM8);

  /* TIM8 DMA Init */

  /* TIM8_CH2 Init */
  LL_DMA_SetChannelSelection(DMA2, LL_DMA_STREAM_3, LL_DMA_CHANNEL_7);

  LL_DMA_SetDataTransferDirection(DMA2, LL_DMA_STREAM_3, LL_DMA_DIRECTION_MEMORY_TO_PERIPH);

  LL_DMA_SetStreamPriorityLevel(DMA2, LL_DMA_STREAM_3, LL_DMA_PRIORITY_HIGH);

  LL_DMA_SetMode(DMA2, LL_DMA_STREAM_3, LL_DMA_MODE_NORMAL);

  LL_DMA_SetPeriphIncMode(DMA2, LL_DMA_STREAM_3, LL_DMA_PERIPH_NOINCREMENT);

  LL_DMA_SetMemoryIncMode(DMA2, LL_DMA_STREAM_3, LL_DMA_MEMORY_NOINCREMENT);

  LL_DMA_SetPeriphSize(DMA2, LL_DMA_STREAM_3, LL_DMA_PDATAALIGN_HALFWORD);

  LL_DMA_SetMemorySize(DMA2, LL_DMA_STREAM_3, LL_DMA_MDATAALIGN_HALFWORD);

  LL_DMA_DisableFifoMode(DMA2, LL_DMA_STREAM_3);

  /* TIM8_CH3 Init */
  LL_DMA_SetChannelSelection(DMA2, LL_DMA_STREAM_4, LL_DMA_CHANNEL_7);

  LL_DMA_SetDataTransferDirection(DMA2, LL_DMA_STREAM_4, LL_DMA_DIRECTION_MEMORY_TO_PERIPH);

  LL_DMA_SetStreamPriorityLevel(DMA2, LL_DMA_STREAM_4, LL_DMA_PRIORITY_HIGH);

  LL_DMA_SetMode(DMA2, LL_DMA_STREAM_4, LL_DMA_MODE_NORMAL);

  LL_DMA_SetPeriphIncMode(DMA2, LL_DMA_STREAM_4, LL_DMA_PERIPH_NOINCREMENT);

  LL_DMA_SetMemoryIncMode(DMA2, LL_DMA_STREAM_4, LL_DMA_MEMORY_NOINCREMENT);

  LL_DMA_SetPeriphSize(DMA2, LL_DMA_STREAM_4, LL_DMA_PDATAALIGN_HALFWORD);

  LL_DMA_SetMemorySize(DMA2, LL_DMA_STREAM_4, LL_DMA_MDATAALIGN_HALFWORD);

  LL_DMA_DisableFifoMode(DMA2, LL_DMA_STREAM_4);

  /* TIM8_CH4_TRIG_COM Init */
  LL_DMA_SetChannelSelection(DMA2, LL_DMA_STREAM_7, LL_DMA_CHANNEL_7);

  LL_DMA_SetDataTransferDirection(DMA2, LL_DMA_STREAM_7, LL_DMA_DIRECTION_MEMORY_TO_PERIPH);

  LL_DMA_SetStreamPriorityLevel(DMA2, LL_DMA_STREAM_7, LL_DMA_PRIORITY_HIGH);

  LL_DMA_SetMode(DMA2, LL_DMA_STREAM_7, LL_DMA_MODE_NORMAL);

  LL_DMA_SetPeriphIncMode(DMA2, LL_DMA_STREAM_7, LL_DMA_PERIPH_NOINCREMENT);

  LL_DMA_SetMemoryIncMode(DMA2, LL_DMA_STREAM_7, LL_DMA_MEMORY_NOINCREMENT);

  LL_DMA_SetPeriphSize(DMA2, LL_DMA_STREAM_7, LL_DMA_PDATAALIGN_HALFWORD);

  LL_DMA_SetMemorySize(DMA2, LL_DMA_STREAM_7, LL_DMA_MDATAALIGN_HALFWORD);

  LL_DMA_DisableFifoMode(DMA2, LL_DMA_STREAM_7);

  TIM_InitStruct.Prescaler = 0;
  TIM_InitStruct.CounterMode = LL_TIM_COUNTERMODE_UP;
  TIM_InitStruct.Autoreload = 0;
  TIM_InitStruct.ClockDivision = LL_TIM_CLOCKDIVISION_DIV1;
  TIM_InitStruct.RepetitionCounter = 0;
  LL_TIM_Init(TIM8, &TIM_InitStruct);

  TIM_OC_InitStruct.OCMode = LL_TIM_OCMODE_FROZEN;
  TIM_OC_InitStruct.OCState = LL_TIM_OCSTATE_DISABLE;
  TIM_OC_InitStruct.OCNState = LL_TIM_OCSTATE_DISABLE;
  TIM_OC_InitStruct.CompareValue = 0;
  TIM_OC_InitStruct.OCPolarity = LL_TIM_OCPOLARITY_HIGH;
  TIM_OC_InitStruct.OCNPolarity = LL_TIM_OCPOLARITY_HIGH;
  TIM_OC_InitStruct.OCIdleState = LL_TIM_OCIDLESTATE_LOW;
  TIM_OC_InitStruct.OCNIdleState = LL_TIM_OCIDLESTATE_LOW;
  LL_TIM_OC_Init(TIM8, LL_TIM_CHANNEL_CH2, &TIM_OC_InitStruct);

  LL_TIM_OC_DisableFast(TIM8, LL_TIM_CHANNEL_CH2);

  TIM_OC_InitStruct.OCState = LL_TIM_OCSTATE_DISABLE;
  TIM_OC_InitStruct.OCNState = LL_TIM_OCSTATE_DISABLE;
  LL_TIM_OC_Init(TIM8, LL_TIM_CHANNEL_CH3, &TIM_OC_InitStruct);

  LL_TIM_OC_DisableFast(TIM8, LL_TIM_CHANNEL_CH3);

  TIM_OC_InitStruct.OCState = LL_TIM_OCSTATE_DISABLE;
  TIM_OC_InitStruct.OCNState = LL_TIM_OCSTATE_DISABLE;
  LL_TIM_OC_Init(TIM8, LL_TIM_CHANNEL_CH4, &TIM_OC_InitStruct);

  LL_TIM_OC_DisableFast(TIM8, LL_TIM_CHANNEL_CH4);

  LL_TIM_SetTriggerOutput(TIM8, LL_TIM_TRGO_RESET);

  LL_TIM_DisableMasterSlaveMode(TIM8);

  TIM_BDTRInitStruct.OSSRState = LL_TIM_OSSR_DISABLE;
  TIM_BDTRInitStruct.OSSIState = LL_TIM_OSSI_DISABLE;
  TIM_BDTRInitStruct.LockLevel = LL_TIM_LOCKLEVEL_OFF;
  TIM_BDTRInitStruct.DeadTime = 0;
  TIM_BDTRInitStruct.BreakState = LL_TIM_BREAK_DISABLE;
  TIM_BDTRInitStruct.BreakPolarity = LL_TIM_BREAK_POLARITY_HIGH;
  TIM_BDTRInitStruct.AutomaticOutput = LL_TIM_AUTOMATICOUTPUT_DISABLE;
  LL_TIM_BDTR_Init(TIM8, &TIM_BDTRInitStruct);

}

static void MX_DMA_Init(void)
{
  /* Init with LL driver */
  /* DMA controller clock enable */
  LL_AHB1_GRP1_EnableClock(LL_AHB1_GRP1_PERIPH_DMA2);
  LL_AHB1_GRP1_EnableClock(LL_AHB1_GRP1_PERIPH_DMA1);

  /* DMA interrupt init */
  /* DMA1_Stream5_IRQn interrupt configuration */
  NVIC_SetPriority(DMA1_Stream5_IRQn, NVIC_EncodePriority(NVIC_GetPriorityGrouping(),0, 0));
  NVIC_EnableIRQ(DMA1_Stream5_IRQn);
  /* DMA1_Stream6_IRQn interrupt configuration */
  NVIC_SetPriority(DMA1_Stream6_IRQn, NVIC_EncodePriority(NVIC_GetPriorityGrouping(),0, 0));
  NVIC_EnableIRQ(DMA1_Stream6_IRQn);
  /* DMA2_Stream0_IRQn interrupt configuration */
  NVIC_SetPriority(DMA2_Stream0_IRQn, NVIC_EncodePriority(NVIC_GetPriorityGrouping(),0, 0));
  NVIC_EnableIRQ(DMA2_Stream0_IRQn);
  /* DMA2_Stream1_IRQn interrupt configuration */
  NVIC_SetPriority(DMA2_Stream1_IRQn, NVIC_EncodePriority(NVIC_GetPriorityGrouping(),0, 0));
  NVIC_EnableIRQ(DMA2_Stream1_IRQn);
  /* DMA2_Stream2_IRQn interrupt configuration */
  NVIC_SetPriority(DMA2_Stream2_IRQn, NVIC_EncodePriority(NVIC_GetPriorityGrouping(),0, 0));
  NVIC_EnableIRQ(DMA2_Stream2_IRQn);
  /* DMA2_Stream3_IRQn interrupt configuration */
  NVIC_SetPriority(DMA2_Stream3_IRQn, NVIC_EncodePriority(NVIC_GetPriorityGrouping(),0, 0));
  NVIC_EnableIRQ(DMA2_Stream3_IRQn);
  /* DMA2_Stream4_IRQn interrupt configuration */
  NVIC_SetPriority(DMA2_Stream4_IRQn, NVIC_EncodePriority(NVIC_GetPriorityGrouping(),0, 0));
  NVIC_EnableIRQ(DMA2_Stream4_IRQn);
  /* DMA2_Stream6_IRQn interrupt configuration */
  NVIC_SetPriority(DMA2_Stream6_IRQn, NVIC_EncodePriority(NVIC_GetPriorityGrouping(),0, 0));
  NVIC_EnableIRQ(DMA2_Stream6_IRQn);
  /* DMA2_Stream7_IRQn interrupt configuration */
  NVIC_SetPriority(DMA2_Stream7_IRQn, NVIC_EncodePriority(NVIC_GetPriorityGrouping(),0, 0));
  NVIC_EnableIRQ(DMA2_Stream7_IRQn);

}

/** Configure pins as
        * Analog
        * Input
        * Output
        * EVENT_OUT
        * EXTI
        * Free pins are configured automatically as Analog (this feature is enabled through
        * the Code Generation settings)
     PC9   ------> RCC_MCO_2
*/
static void MX_GPIO_Init(void)
{

  LL_GPIO_InitTypeDef GPIO_InitStruct;
  LL_EXTI_InitTypeDef EXTI_InitStruct;

  /* GPIO Ports Clock Enable */
  LL_AHB1_GRP1_EnableClock(LL_AHB1_GRP1_PERIPH_GPIOC);
  LL_AHB1_GRP1_EnableClock(LL_AHB1_GRP1_PERIPH_GPIOH);
  LL_AHB1_GRP1_EnableClock(LL_AHB1_GRP1_PERIPH_GPIOA);
  LL_AHB1_GRP1_EnableClock(LL_AHB1_GRP1_PERIPH_GPIOB);
  LL_AHB1_GRP1_EnableClock(LL_AHB1_GRP1_PERIPH_GPIOD);

  /**/
  LL_GPIO_ResetOutputPin(GPIOA, LI_A_Pin|LI_B_Pin|LI_C_Pin|BW_SEL_Pin);

  /**/
  LL_GPIO_ResetOutputPin(GPIOB, FreigabeMCU_Pin|StopMCU_Pin|elekKomm_Pin|Hochlauf_Pin);

  /**/
  GPIO_InitStruct.Pin = LL_GPIO_PIN_13|LL_GPIO_PIN_14|LL_GPIO_PIN_15|LL_GPIO_PIN_5
                          |LL_GPIO_PIN_6|LL_GPIO_PIN_7|LL_GPIO_PIN_8|LL_GPIO_PIN_10
                          |LL_GPIO_PIN_12;
  GPIO_InitStruct.Mode = LL_GPIO_MODE_ANALOG;
  GPIO_InitStruct.Pull = LL_GPIO_PULL_NO;
  LL_GPIO_Init(GPIOC, &GPIO_InitStruct);

  /**/
  GPIO_InitStruct.Pin = LI_A_Pin|LI_B_Pin|LI_C_Pin;
  GPIO_InitStruct.Mode = LL_GPIO_MODE_OUTPUT;
  GPIO_InitStruct.Speed = LL_GPIO_SPEED_FREQ_VERY_HIGH;
  GPIO_InitStruct.OutputType = LL_GPIO_OUTPUT_PUSHPULL;
  GPIO_InitStruct.Pull = LL_GPIO_PULL_NO;
  LL_GPIO_Init(GPIOA, &GPIO_InitStruct);

  /**/
  GPIO_InitStruct.Pin = BW_SEL_Pin;
  GPIO_InitStruct.Mode = LL_GPIO_MODE_OUTPUT;
  GPIO_InitStruct.Speed = LL_GPIO_SPEED_FREQ_MEDIUM;
  GPIO_InitStruct.OutputType = LL_GPIO_OUTPUT_PUSHPULL;
  GPIO_InitStruct.Pull = LL_GPIO_PULL_NO;
  LL_GPIO_Init(BW_SEL_GPIO_Port, &GPIO_InitStruct);

  /**/
  GPIO_InitStruct.Pin = LL_GPIO_PIN_1|LL_GPIO_PIN_2|LL_GPIO_PIN_10|LL_GPIO_PIN_12
                          |LL_GPIO_PIN_13|LL_GPIO_PIN_14|LL_GPIO_PIN_15|LL_GPIO_PIN_3;
  GPIO_InitStruct.Mode = LL_GPIO_MODE_ANALOG;
  GPIO_InitStruct.Pull = LL_GPIO_PULL_NO;
  LL_GPIO_Init(GPIOB, &GPIO_InitStruct);

  /**/
  GPIO_InitStruct.Pin = ClockOut_Pin;
  GPIO_InitStruct.Mode = LL_GPIO_MODE_ALTERNATE;
  GPIO_InitStruct.Speed = LL_GPIO_SPEED_FREQ_VERY_HIGH;
  GPIO_InitStruct.OutputType = LL_GPIO_OUTPUT_PUSHPULL;
  GPIO_InitStruct.Pull = LL_GPIO_PULL_NO;
  GPIO_InitStruct.Alternate = LL_GPIO_AF_0;
  LL_GPIO_Init(ClockOut_GPIO_Port, &GPIO_InitStruct);

  /**/
  GPIO_InitStruct.Pin = LL_GPIO_PIN_15;
  GPIO_InitStruct.Mode = LL_GPIO_MODE_ANALOG;
  GPIO_InitStruct.Pull = LL_GPIO_PULL_NO;
  LL_GPIO_Init(GPIOA, &GPIO_InitStruct);

  /**/
  GPIO_InitStruct.Pin = LL_GPIO_PIN_2;
  GPIO_InitStruct.Mode = LL_GPIO_MODE_ANALOG;
  GPIO_InitStruct.Pull = LL_GPIO_PULL_NO;
  LL_GPIO_Init(GPIOD, &GPIO_InitStruct);

  /**/
  GPIO_InitStruct.Pin = FreigabeMCU_Pin;
  GPIO_InitStruct.Mode = LL_GPIO_MODE_OUTPUT;
  GPIO_InitStruct.Speed = LL_GPIO_SPEED_FREQ_MEDIUM;
  GPIO_InitStruct.OutputType = LL_GPIO_OUTPUT_PUSHPULL;
  GPIO_InitStruct.Pull = LL_GPIO_PULL_NO;
  LL_GPIO_Init(FreigabeMCU_GPIO_Port, &GPIO_InitStruct);

  /**/
  GPIO_InitStruct.Pin = StopMCU_Pin;
  GPIO_InitStruct.Mode = LL_GPIO_MODE_OUTPUT;
  GPIO_InitStruct.Speed = LL_GPIO_SPEED_FREQ_VERY_HIGH;
  GPIO_InitStruct.OutputType = LL_GPIO_OUTPUT_PUSHPULL;
  GPIO_InitStruct.Pull = LL_GPIO_PULL_NO;
  LL_GPIO_Init(StopMCU_GPIO_Port, &GPIO_InitStruct);

  /**/
  GPIO_InitStruct.Pin = elekKomm_Pin|Hochlauf_Pin;
  GPIO_InitStruct.Mode = LL_GPIO_MODE_OUTPUT;
  GPIO_InitStruct.Speed = LL_GPIO_SPEED_FREQ_LOW;
  GPIO_InitStruct.OutputType = LL_GPIO_OUTPUT_PUSHPULL;
  GPIO_InitStruct.Pull = LL_GPIO_PULL_NO;
  LL_GPIO_Init(GPIOB, &GPIO_InitStruct);

  /**/
  LL_SYSCFG_SetEXTISource(LL_SYSCFG_EXTI_PORTC, LL_SYSCFG_EXTI_LINE11);

  /**/
  LL_SYSCFG_SetEXTISource(LL_SYSCFG_EXTI_PORTB, LL_SYSCFG_EXTI_LINE4);

  /**/
  LL_SYSCFG_SetEXTISource(LL_SYSCFG_EXTI_PORTB, LL_SYSCFG_EXTI_LINE7);

  /**/
  EXTI_InitStruct.Line_0_31 = LL_EXTI_LINE_11;
  EXTI_InitStruct.LineCommand = ENABLE;
  EXTI_InitStruct.Mode = LL_EXTI_MODE_IT;
  EXTI_InitStruct.Trigger = LL_EXTI_TRIGGER_RISING;
  LL_EXTI_Init(&EXTI_InitStruct);

  /**/
  EXTI_InitStruct.Line_0_31 = LL_EXTI_LINE_4;
  EXTI_InitStruct.LineCommand = ENABLE;
  EXTI_InitStruct.Mode = LL_EXTI_MODE_IT;
  EXTI_InitStruct.Trigger = LL_EXTI_TRIGGER_RISING;
  LL_EXTI_Init(&EXTI_InitStruct);

  /**/
  EXTI_InitStruct.Line_0_31 = LL_EXTI_LINE_7;
  EXTI_InitStruct.LineCommand = ENABLE;
  EXTI_InitStruct.Mode = LL_EXTI_MODE_IT;
  EXTI_InitStruct.Trigger = LL_EXTI_TRIGGER_RISING;
  LL_EXTI_Init(&EXTI_InitStruct);

  /**/
  LL_GPIO_SetPinPull(StopButton_GPIO_Port, StopButton_Pin, LL_GPIO_PULL_NO);

  /**/
  LL_GPIO_SetPinPull(freigegeben_GPIO_Port, freigegeben_Pin, LL_GPIO_PULL_NO);

  /**/
  LL_GPIO_SetPinPull(OverCurr_GPIO_Port, OverCurr_Pin, LL_GPIO_PULL_NO);

  /**/
  LL_GPIO_SetPinMode(StopButton_GPIO_Port, StopButton_Pin, LL_GPIO_MODE_INPUT);

  /**/
  LL_GPIO_SetPinMode(freigegeben_GPIO_Port, freigegeben_Pin, LL_GPIO_MODE_INPUT);

  /**/
  LL_GPIO_SetPinMode(OverCurr_GPIO_Port, OverCurr_Pin, LL_GPIO_MODE_INPUT);

  /* EXTI interrupt init*/
  NVIC_SetPriority(EXTI4_IRQn, NVIC_EncodePriority(NVIC_GetPriorityGrouping(),0, 0));
  NVIC_EnableIRQ(EXTI4_IRQn);
  NVIC_SetPriority(EXTI9_5_IRQn, NVIC_EncodePriority(NVIC_GetPriorityGrouping(),0, 0));
  NVIC_EnableIRQ(EXTI9_5_IRQn);
  NVIC_SetPriority(EXTI15_10_IRQn, NVIC_EncodePriority(NVIC_GetPriorityGrouping(),0, 0));
  NVIC_EnableIRQ(EXTI15_10_IRQn);

}

/* USER CODE BEGIN 4 */

static void chargeBootsraps(uint16_t aMicro){
/*
 * This function loads the gate-drivers' bootstrap-capacitors for
 * the time specified as argument. It is achieved by switching on
 * the low-side MOSFETS for the specified time via TIMER 4 in
 * One-Pulse Mode. After the specified time, Lowside-Mosfets are switched off.
 *
 * @ param aMicro: time (in µs) to switch on low-side-Mosfets
 * */
	//Enable Timer4 Clock
	SET_BIT(RCC->APB1ENR,RCC_APB1ENR_TIM14EN);
	// Configure Timer 4
	// Set ONe-Pulse Mode
	TIM4->CR1 |= (H_BIT<<3);
	// Prescaler auf 96 , deshalb Zählerfrequenz 1MHz
	TIM4->PSC = 96;

	//Zählt bis zu gewünschter Zahl
	TIM4->ARR = aMicro;

	TIM4->CR1 |= H_BIT; //startet Timer
	HAL_GPIO_WritePin(LI_A_GPIO_Port,LI_A_Pin | LI_B_Pin |LI_C_Pin,GPIO_PIN_SET);

	while (!(TIM4->SR & H_BIT)); //Zeit abwarten

	HAL_GPIO_WritePin(LI_A_GPIO_Port,LI_A_Pin | LI_B_Pin |LI_C_Pin,GPIO_PIN_RESET);
	__TIM4_CLK_DISABLE();
}

static void setHighsidePWMFreq(enum PWMFreq aFreqency){
	float currDutycycle;
	uint16_t ARR_Content,CCR_Content,newCCR;

	ARR_Content = TIM3->ARR;
	CCR_Content = TIM3->CCR1;
	currDutycycle = (float) CCR_Content/ARR_Content;
	newCCR= ARRValue[aFreqency] * currDutycycle;

	//disable Udpate-event
	TIM3->CR1 |= (H_BIT<<1);

	//write new duty-cycle into CCR
	TIM3->CCR1 = (uint32_t) newCCR;
	TIM3->CCR2 = (uint32_t) newCCR;
	TIM3->CCR3 = (uint32_t) newCCR;
	//write new Frequency into ARR
	TIM3->ARR = ARRValue[aFreqency];
	//enable Update-event
	TIM3->CR1 &= ~(H_BIT<<1);
	}

static void PWMStart(){
	TIM3->CR1 |= (H_BIT<<7);
	TIM3->CR1 |= H_BIT;
}

static void setTIM1DMASource(){
	//Diese Funktion legt fest, dass der DMA-Controller
	//aus den Capture-Registern von Timer 1 liest
	LL_DMA_SetPeriphAddress(DMA2,LL_DMA_STREAM_1,TIM1->CCR1);
	LL_DMA_SetPeriphAddress(DMA2,LL_DMA_STREAM_2,TIM1->CCR2);
	LL_DMA_SetPeriphAddress(DMA2,LL_DMA_STREAM_6,TIM1->CCR3);
}

static void enableDMA2(uint32_t aStream){
	//Diese Funktion gibt den DMA auf einem Stream frei
	LL_DMA_EnableStream(DMA2,aStream);
}
static void changeTIM1DMADestination(uint32_t stream){
//DMA2 deaktivieren
	LL_DMA_DisableStream(DMA2,stream);
//DMA sollen immer auf das aktuelle Element des Zero-Cross
//übertragen
LL_DMA_SetMemoryAddress(DMA2,stream,&(pZeroCrossCurrent->count));
// DMA2 aktivieren
LL_DMA_EnableStream(DMA2,stream);
}

static void DefineComm(){
uint8_t i;
for (i=0;i<6;i++)
	{
	if ( i == 0 )
		Kommutierung[i].prev = &Kommutierung[5];
	else
		Kommutierung[i].prev = &Kommutierung[i-1];
	if ( i == 5 )
		Kommutierung[i].next = &Kommutierung[0];
	else
		Kommutierung[i].next = &Kommutierung[i+1];
	}

//Elektrischer Abschnitt1
Kommutierung[0].LIA=0;
Kommutierung[0].LIB=0;
Kommutierung[0].LIC=1;
Kommutierung[0].OCRA=1;
Kommutierung[0].OCRB=0;
Kommutierung[0].OCRC=0;
Kommutierung[0].stream = LL_DMA_STREAM_2;
Kommutierung[0].capturePolarity=1;
Kommutierung[0].CapA=0;
Kommutierung[0].CapB=1;
Kommutierung[0].CapC=0;

//Elektrischer Abschnitt2
Kommutierung[1].LIA=0;
Kommutierung[1].LIB=0;
Kommutierung[1].LIC=1;
Kommutierung[1].OCRA=0;
Kommutierung[1].OCRB=1;
Kommutierung[1].OCRC=0;
Kommutierung[1].stream= LL_DMA_STREAM_1;
Kommutierung[1].capturePolarity=0;
Kommutierung[1].CapA=1;
Kommutierung[1].CapB=0;
Kommutierung[1].CapC=0;

//Elektrischer Abschnitt3
Kommutierung[2].LIA=1;
Kommutierung[2].LIB=0;
Kommutierung[2].LIC=0;
Kommutierung[2].OCRA=0;
Kommutierung[2].OCRB=1;
Kommutierung[2].OCRC=0;
Kommutierung[2].stream= LL_DMA_STREAM_6;
Kommutierung[2].capturePolarity=1;
Kommutierung[2].CapA=0;
Kommutierung[2].CapB=0;
Kommutierung[2].CapC=1;

//Elektrischer Abschnitt4
Kommutierung[3].LIA=1;
Kommutierung[3].LIB=0;
Kommutierung[3].LIC=0;
Kommutierung[3].OCRA=0;
Kommutierung[3].OCRB=0;
Kommutierung[3].OCRC=1;
Kommutierung[3].stream = LL_DMA_STREAM_2;
Kommutierung[3].capturePolarity=0;
Kommutierung[3].CapA=0;
Kommutierung[3].CapB=1;
Kommutierung[3].CapC=0;

//Elektrischer Abschnitt5
Kommutierung[4].LIA=0;
Kommutierung[4].LIB=1;
Kommutierung[4].LIC=0;
Kommutierung[4].OCRA=0;
Kommutierung[4].OCRB=0;
Kommutierung[4].OCRC=1;
Kommutierung[4].stream = LL_DMA_STREAM_2;
Kommutierung[4].capturePolarity=1;
Kommutierung[4].CapA=1;
Kommutierung[4].CapB=0;
Kommutierung[4].CapC=0;

//Elektrischer Abschnitt6
Kommutierung[5].LIA=0;
Kommutierung[5].LIB=1;
Kommutierung[5].LIC=0;
Kommutierung[5].OCRA=1;
Kommutierung[5].OCRB=0;
Kommutierung[5].OCRC=0;
Kommutierung[5].stream= LL_DMA_STREAM_6;
Kommutierung[5].capturePolarity=0;
Kommutierung[5].CapA=0;
Kommutierung[5].CapB=0;
Kommutierung[5].CapC=1;

pKomm = &Kommutierung[0];
}

static void InitializeLists()
{
uint8_t i;
ZeroC[0].prev = &ZeroC[NB_ZCROSS];
for (i=1; i<NB_ZCROSS;i++)
	{
	ZeroC[i].prev = &ZeroC[i-1];
	if (i == (NB_ZCROSS-1))
		ZeroC[i].next = &ZeroC[0];
	else
		ZeroC[i].next = &ZeroC[i+1];
	}
pZeroCrossCurrent = &ZeroC[0];

RPM[0].prev = &RPM[NB_RPM];
for(i=1;i<NB_RPM;i++)
	{
	RPM[i].prev = &RPM[i-1];
		if (i == (NB_RPM-1))
			RPM[i].next = &RPM[0];
		else
			RPM[i].next = &RPM[i+1];
	}
pRPMCurrent = &RPM[0];
DefineComm();
}
/* USER CODE END 4 */

void _Error_Handler(char *file, int line)
{
  while(1)
  {
  }
}

/************************ (C) COPYRIGHT STMicroelectronics *****END OF FILE****/
